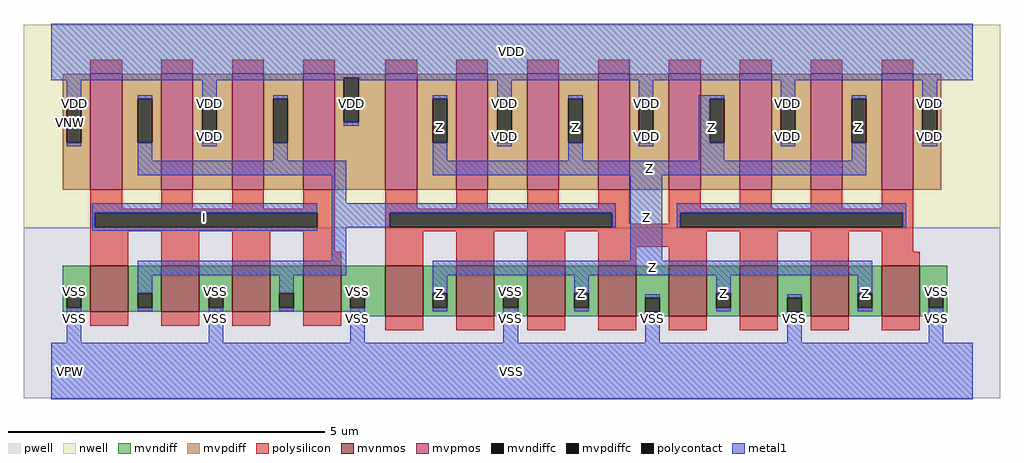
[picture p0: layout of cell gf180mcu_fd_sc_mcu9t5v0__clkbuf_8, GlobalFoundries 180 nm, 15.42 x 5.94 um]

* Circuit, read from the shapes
.subckt gf180mcu_fd_sc_mcu9t5v0__clkbuf_8 I Z VDD VNW VPW VSS
XM1 n1 I VSS VPW nfet_06v0 w=0.73u l=0.6u m=4
XM2 Z n1 VSS VPW nfet_06v0 w=0.8u l=0.6u m=8
XM3 n1 I VDD VNW pfet_06v0 w=1.83u l=0.5u m=4
XM4 Z n1 VDD VNW pfet_06v0 w=1.83u l=0.5u m=8
.ends

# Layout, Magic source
magic
tech gf180mcuD
magscale 1 10
<< nwell >>
rect -86 453 2998 1094
<< pwell >>
rect -86 -86 2998 453
<< mvnmos >>
rect 124 187 244 333
rect 348 187 468 333
rect 572 187 692 333
rect 796 187 916 333
rect 1056 173 1176 333
rect 1280 173 1400 333
rect 1504 173 1624 333
rect 1728 173 1848 333
rect 1952 173 2072 333
rect 2176 173 2296 333
rect 2400 173 2520 333
rect 2624 173 2744 333
<< mvpmos >>
rect 124 573 224 939
rect 348 573 448 939
rect 572 573 672 939
rect 796 573 896 939
rect 1056 573 1156 939
rect 1280 573 1380 939
rect 1504 573 1604 939
rect 1728 573 1828 939
rect 1952 573 2052 939
rect 2176 573 2276 939
rect 2400 573 2500 939
rect 2624 573 2724 939
<< mvndiff >>
rect 36 246 124 333
rect 36 200 49 246
rect 95 200 124 246
rect 36 187 124 200
rect 244 246 348 333
rect 244 200 273 246
rect 319 200 348 246
rect 244 187 348 200
rect 468 246 572 333
rect 468 200 497 246
rect 543 200 572 246
rect 468 187 572 200
rect 692 246 796 333
rect 692 200 721 246
rect 767 200 796 246
rect 692 187 796 200
rect 916 246 1056 333
rect 916 200 945 246
rect 991 200 1056 246
rect 916 187 1056 200
rect 976 173 1056 187
rect 1176 246 1280 333
rect 1176 200 1205 246
rect 1251 200 1280 246
rect 1176 173 1280 200
rect 1400 246 1504 333
rect 1400 200 1429 246
rect 1475 200 1504 246
rect 1400 173 1504 200
rect 1624 246 1728 333
rect 1624 200 1653 246
rect 1699 200 1728 246
rect 1624 173 1728 200
rect 1848 232 1952 333
rect 1848 186 1877 232
rect 1923 186 1952 232
rect 1848 173 1952 186
rect 2072 246 2176 333
rect 2072 200 2101 246
rect 2147 200 2176 246
rect 2072 173 2176 200
rect 2296 232 2400 333
rect 2296 186 2325 232
rect 2371 186 2400 232
rect 2296 173 2400 186
rect 2520 246 2624 333
rect 2520 200 2549 246
rect 2595 200 2624 246
rect 2520 173 2624 200
rect 2744 246 2832 333
rect 2744 200 2773 246
rect 2819 200 2832 246
rect 2744 173 2832 200
<< mvpdiff >>
rect 36 861 124 939
rect 36 721 49 861
rect 95 721 124 861
rect 36 573 124 721
rect 224 861 348 939
rect 224 721 273 861
rect 319 721 348 861
rect 224 573 348 721
rect 448 861 572 939
rect 448 721 477 861
rect 523 721 572 861
rect 448 573 572 721
rect 672 861 796 939
rect 672 721 701 861
rect 747 721 796 861
rect 672 573 796 721
rect 896 926 1056 939
rect 896 786 925 926
rect 971 786 1056 926
rect 896 573 1056 786
rect 1156 861 1280 939
rect 1156 721 1205 861
rect 1251 721 1280 861
rect 1156 573 1280 721
rect 1380 861 1504 939
rect 1380 721 1409 861
rect 1455 721 1504 861
rect 1380 573 1504 721
rect 1604 861 1728 939
rect 1604 721 1633 861
rect 1679 721 1728 861
rect 1604 573 1728 721
rect 1828 861 1952 939
rect 1828 721 1857 861
rect 1903 721 1952 861
rect 1828 573 1952 721
rect 2052 861 2176 939
rect 2052 721 2081 861
rect 2127 721 2176 861
rect 2052 573 2176 721
rect 2276 861 2400 939
rect 2276 721 2305 861
rect 2351 721 2400 861
rect 2276 573 2400 721
rect 2500 861 2624 939
rect 2500 721 2529 861
rect 2575 721 2624 861
rect 2500 573 2624 721
rect 2724 861 2812 939
rect 2724 721 2753 861
rect 2799 721 2812 861
rect 2724 573 2812 721
<< mvndiffc >>
rect 49 200 95 246
rect 273 200 319 246
rect 497 200 543 246
rect 721 200 767 246
rect 945 200 991 246
rect 1205 200 1251 246
rect 1429 200 1475 246
rect 1653 200 1699 246
rect 1877 186 1923 232
rect 2101 200 2147 246
rect 2325 186 2371 232
rect 2549 200 2595 246
rect 2773 200 2819 246
<< mvpdiffc >>
rect 49 721 95 861
rect 273 721 319 861
rect 477 721 523 861
rect 701 721 747 861
rect 925 786 971 926
rect 1205 721 1251 861
rect 1409 721 1455 861
rect 1633 721 1679 861
rect 1857 721 1903 861
rect 2081 721 2127 861
rect 2305 721 2351 861
rect 2529 721 2575 861
rect 2753 721 2799 861
<< polysilicon >>
rect 124 939 224 983
rect 348 939 448 983
rect 572 939 672 983
rect 796 939 896 983
rect 1056 939 1156 983
rect 1280 939 1380 983
rect 1504 939 1604 983
rect 1728 939 1828 983
rect 1952 939 2052 983
rect 2176 939 2276 983
rect 2400 939 2500 983
rect 2624 939 2724 983
rect 124 513 224 573
rect 348 513 448 573
rect 572 513 672 573
rect 796 513 896 573
rect 124 500 896 513
rect 124 454 137 500
rect 841 454 896 500
rect 124 441 896 454
rect 124 333 244 441
rect 348 333 468 441
rect 572 333 692 441
rect 796 377 896 441
rect 1056 513 1156 573
rect 1280 513 1380 573
rect 1504 513 1604 573
rect 1728 513 1828 573
rect 1056 500 1828 513
rect 1056 454 1069 500
rect 1773 465 1828 500
rect 1952 513 2052 573
rect 2176 513 2276 573
rect 2400 513 2500 573
rect 2624 513 2724 573
rect 1952 500 2724 513
rect 1952 465 1987 500
rect 1773 454 1987 465
rect 2691 454 2724 500
rect 1056 441 2724 454
rect 796 333 916 377
rect 1056 333 1176 441
rect 1280 333 1400 441
rect 1504 333 1624 441
rect 1728 393 2072 441
rect 1728 333 1848 393
rect 1952 333 2072 393
rect 2176 333 2296 441
rect 2400 333 2520 441
rect 2624 377 2724 441
rect 2624 333 2744 377
rect 124 143 244 187
rect 348 143 468 187
rect 572 143 692 187
rect 796 143 916 187
rect 1056 129 1176 173
rect 1280 129 1400 173
rect 1504 129 1624 173
rect 1728 129 1848 173
rect 1952 129 2072 173
rect 2176 129 2296 173
rect 2400 129 2520 173
rect 2624 129 2744 173
<< polycontact >>
rect 137 454 841 500
rect 1069 454 1773 500
rect 1987 454 2691 500
<< metal1 >>
rect 0 926 2912 1098
rect 0 918 925 926
rect 49 861 95 918
rect 49 710 95 721
rect 273 861 319 872
rect 273 664 319 721
rect 477 861 523 918
rect 477 710 523 721
rect 701 861 747 872
rect 971 918 2912 926
rect 925 775 971 786
rect 1205 861 1251 872
rect 701 664 747 721
rect 1205 664 1251 721
rect 1409 861 1455 918
rect 1409 710 1455 721
rect 1633 861 1679 872
rect 1633 664 1679 721
rect 1857 861 1903 918
rect 1857 710 1903 721
rect 2046 861 2127 872
rect 2046 721 2081 861
rect 2046 664 2127 721
rect 2305 861 2351 918
rect 2305 710 2351 721
rect 2529 861 2575 872
rect 2529 664 2575 721
rect 2753 861 2799 918
rect 2753 710 2799 721
rect 273 618 933 664
rect 1205 618 2575 664
rect 887 530 933 618
rect 130 500 841 530
rect 130 454 137 500
rect 130 443 841 454
rect 887 500 1784 530
rect 887 454 1069 500
rect 1773 454 1784 500
rect 887 349 933 454
rect 1830 349 1930 618
rect 1976 500 2702 530
rect 1976 454 1987 500
rect 2691 454 2702 500
rect 273 303 933 349
rect 1205 303 2595 349
rect 49 246 95 257
rect 49 90 95 200
rect 273 246 319 303
rect 273 189 319 200
rect 497 246 543 257
rect 497 90 543 200
rect 721 246 767 303
rect 721 189 767 200
rect 945 246 991 257
rect 945 90 991 200
rect 1205 246 1251 303
rect 1205 189 1251 200
rect 1429 246 1475 257
rect 1429 90 1475 200
rect 1653 246 1699 303
rect 2101 246 2147 303
rect 1653 189 1699 200
rect 1877 232 1923 243
rect 2549 246 2595 303
rect 2101 189 2147 200
rect 2325 232 2371 243
rect 1877 90 1923 186
rect 2549 189 2595 200
rect 2773 246 2819 257
rect 2325 90 2371 186
rect 2773 90 2819 200
rect 0 -90 2912 90
<< labels >>
flabel metal1 s 130 443 841 530 0 FreeSans 200 0 0 0 I
port 1 nsew default input
flabel metal1 s 0 918 2912 1098 0 FreeSans 200 0 0 0 VDD
port 3 nsew power bidirectional abutment
flabel metal1 s 2773 243 2819 257 0 FreeSans 200 0 0 0 VSS
port 6 nsew ground bidirectional abutment
flabel metal1 s 2529 664 2575 872 0 FreeSans 200 0 0 0 Z
port 2 nsew default output
flabel nwell s 10 734 110 834 0 FreeSans 400 0 0 0 VNW
port 4 nsew power bidirectional
flabel pwell s 10 -50 110 50 0 FreeSans 400 0 0 0 VPW
port 5 nsew ground bidirectional
rlabel metal1 s 2046 664 2127 872 1 Z
port 2 nsew default output
rlabel metal1 s 1633 664 1679 872 1 Z
port 2 nsew default output
rlabel metal1 s 1205 664 1251 872 1 Z
port 2 nsew default output
rlabel metal1 s 1205 618 2575 664 1 Z
port 2 nsew default output
rlabel metal1 s 1830 349 1930 618 1 Z
port 2 nsew default output
rlabel metal1 s 1205 303 2595 349 1 Z
port 2 nsew default output
rlabel metal1 s 2549 189 2595 303 1 Z
port 2 nsew default output
rlabel metal1 s 2101 189 2147 303 1 Z
port 2 nsew default output
rlabel metal1 s 1653 189 1699 303 1 Z
port 2 nsew default output
rlabel metal1 s 1205 189 1251 303 1 Z
port 2 nsew default output
rlabel metal1 s 2753 775 2799 918 1 VDD
port 3 nsew power bidirectional abutment
rlabel metal1 s 2305 775 2351 918 1 VDD
port 3 nsew power bidirectional abutment
rlabel metal1 s 1857 775 1903 918 1 VDD
port 3 nsew power bidirectional abutment
rlabel metal1 s 1409 775 1455 918 1 VDD
port 3 nsew power bidirectional abutment
rlabel metal1 s 925 775 971 918 1 VDD
port 3 nsew power bidirectional abutment
rlabel metal1 s 477 775 523 918 1 VDD
port 3 nsew power bidirectional abutment
rlabel metal1 s 49 775 95 918 1 VDD
port 3 nsew power bidirectional abutment
rlabel metal1 s 2753 710 2799 775 1 VDD
port 3 nsew power bidirectional abutment
rlabel metal1 s 2305 710 2351 775 1 VDD
port 3 nsew power bidirectional abutment
rlabel metal1 s 1857 710 1903 775 1 VDD
port 3 nsew power bidirectional abutment
rlabel metal1 s 1409 710 1455 775 1 VDD
port 3 nsew power bidirectional abutment
rlabel metal1 s 477 710 523 775 1 VDD
port 3 nsew power bidirectional abutment
rlabel metal1 s 49 710 95 775 1 VDD
port 3 nsew power bidirectional abutment
rlabel metal1 s 1429 243 1475 257 1 VSS
port 6 nsew ground bidirectional abutment
rlabel metal1 s 945 243 991 257 1 VSS
port 6 nsew ground bidirectional abutment
rlabel metal1 s 497 243 543 257 1 VSS
port 6 nsew ground bidirectional abutment
rlabel metal1 s 49 243 95 257 1 VSS
port 6 nsew ground bidirectional abutment
rlabel metal1 s 2773 90 2819 243 1 VSS
port 6 nsew ground bidirectional abutment
rlabel metal1 s 2325 90 2371 243 1 VSS
port 6 nsew ground bidirectional abutment
rlabel metal1 s 1877 90 1923 243 1 VSS
port 6 nsew ground bidirectional abutment
rlabel metal1 s 1429 90 1475 243 1 VSS
port 6 nsew ground bidirectional abutment
rlabel metal1 s 945 90 991 243 1 VSS
port 6 nsew ground bidirectional abutment
rlabel metal1 s 497 90 543 243 1 VSS
port 6 nsew ground bidirectional abutment
rlabel metal1 s 49 90 95 243 1 VSS
port 6 nsew ground bidirectional abutment
rlabel metal1 s 0 -90 2912 90 1 VSS
port 6 nsew ground bidirectional abutment
<< properties >>
string FIXED_BBOX 0 0 2912 1008
string GDS_END 1402670
string GDS_FILE $PDKPATH/libs.ref/gf180mcu_fd_sc_mcu9t5v0/gds/gf180mcu_fd_sc_mcu9t5v0.gds
string GDS_START 1395288
string LEFclass core
string LEFsite GF018hv5v_green_sc9
string LEFsymmetry X Y
<< end >>
